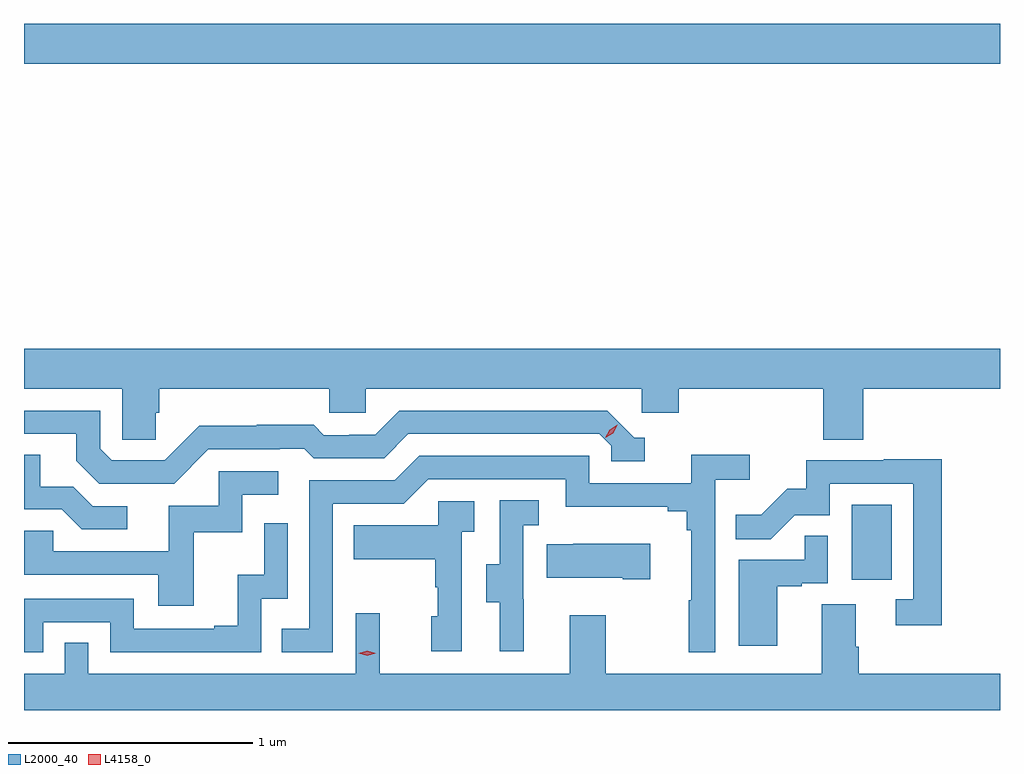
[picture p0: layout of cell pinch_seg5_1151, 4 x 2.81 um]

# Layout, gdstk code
import gdstk
lib = gdstk.Library(unit=1e-6, precision=1e-09)
def R(c, l, rs):  # rectangles x0, y0, x1, y1
    for r in rs: c.add(gdstk.rectangle(r[:2], r[2:], *l))
def P(c, l, *ps):  # polygons
    for p in ps: c.add(gdstk.Polygon(p, *l))
L2000_40 = (2000, 40)
L4158_0 = (4158, 0)

pinch_seg5_1151 = lib.new_cell('pinch_seg5_1151')
R(pinch_seg5_1151, L2000_40, [(869.546,833.334,869.71,833.641), (866.154,835.448,870.154,835.612)])
P(pinch_seg5_1151, L2000_40, [(866.693,834.018),(866.708,834.018),(866.708,834.116),(867.405,834.116),(867.405,834.018),(867.555,834.018),(867.555,834.116),(868.686,834.116),(868.686,834.018),(868.838,834.018),(868.838,834.116),(869.429,834.116),(869.429,833.908),(869.594,833.908),(869.594,834.116),(870.154,834.116),(870.154,834.28),(866.154,834.28),(866.154,834.116),(866.556,834.116),(866.556,833.908),(866.693,833.908)],
  [(866.91,833.868),(867.203,833.868),(867.203,833.871),(867.302,833.871),(867.341,833.832),(867.63,833.832),(867.729,833.931),(868.512,833.931),(868.56,833.883),(868.56,833.82),(868.699,833.82),(868.699,833.916),(868.656,833.916),(868.545,834.027),(867.692,834.027),(867.593,833.928),(867.486,833.928),(867.486,833.925),(867.383,833.925),(867.341,833.968),(867.108,833.968),(867.108,833.965),(866.872,833.965),(866.73,833.823),(866.514,833.823),(866.466,833.871),(866.466,834.027),(866.154,834.027),(866.154,833.931),(866.369,833.931),(866.369,833.821),(866.463,833.727),(866.769,833.727)],
  [(866.578,833.634),(866.436,833.634),(866.356,833.714),(866.221,833.714),(866.221,833.846),(866.154,833.846),(866.154,833.622),(866.309,833.622),(866.39,833.541),(866.578,833.541)],
  [(867.42,833.646),(867.711,833.646),(867.81,833.745),(868.374,833.745),(868.374,833.633),(868.793,833.633),(868.793,833.614),(868.87,833.614),(868.87,833.537),(868.889,833.537),(868.889,833.249),(868.878,833.249),(868.878,833.037),(868.986,833.037),(868.986,833.744),(869.128,833.744),(869.128,833.846),(868.889,833.846),(868.889,833.73),(868.47,833.73),(868.47,833.841),(867.773,833.841),(867.674,833.742),(867.324,833.742),(867.324,833.133),(867.211,833.133),(867.211,833.037),(867.42,833.037)],
  [(869.915,833.828),(869.677,833.828),(869.677,833.823),(869.359,833.823),(869.359,833.706),(869.282,833.706),(869.175,833.599),(869.071,833.599),(869.071,833.5),(869.215,833.5),(869.313,833.598),(869.457,833.598),(869.457,833.727),(869.799,833.727),(869.799,833.253),(869.727,833.253),(869.727,833.148),(869.915,833.148)],
  [(866.849,833.529),(867.048,833.529),(867.048,833.682),(867.196,833.682),(867.196,833.778),(866.952,833.778),(866.952,833.637),(866.747,833.637),(866.747,833.451),(866.273,833.451),(866.273,833.535),(866.154,833.535),(866.154,833.355),(866.705,833.355),(866.705,833.226),(866.849,833.226)],
  [(868.202,833.253),(868.2,833.253),(868.2,833.557),(868.264,833.557),(868.264,833.66),(868.104,833.66),(868.104,833.397),(868.049,833.397),(868.049,833.242),(868.103,833.242),(868.103,833.04),(868.202,833.04)],
  [(867.948,833.531),(868,833.531),(868,833.655),(867.852,833.655),(867.852,833.557),(867.505,833.557),(867.505,833.417),(867.84,833.417),(867.84,833.303),(867.85,833.303),(867.85,833.184),(867.824,833.184),(867.824,833.04),(867.948,833.04)],
  [(866.232,833.16),(866.508,833.16),(866.508,833.037),(867.126,833.037),(867.126,833.256),(867.234,833.256),(867.234,833.566),(867.138,833.566),(867.138,833.354),(867.029,833.354),(867.029,833.146),(866.933,833.146),(866.933,833.133),(866.604,833.133),(866.604,833.256),(866.154,833.256),(866.154,833.037),(866.232,833.037)],
  [(869.242,833.307),(869.342,833.307),(869.342,833.319),(869.448,833.319),(869.448,833.513),(869.353,833.513),(869.353,833.415),(869.084,833.415),(869.084,833.064),(869.242,833.064)],
  [(868.72,833.482),(868.405,833.482),(868.405,833.479),(868.297,833.479),(868.297,833.342),(868.607,833.342),(868.607,833.335),(868.72,833.335)],
  [(870.154,832.948),(869.576,832.948),(869.576,833.06),(869.563,833.06),(869.563,833.234),(869.423,833.234),(869.423,832.948),(868.539,832.948),(868.539,833.188),(868.391,833.188),(868.391,832.948),(867.611,832.948),(867.611,833.197),(867.513,833.197),(867.513,832.948),(866.418,832.948),(866.418,833.075),(866.322,833.075),(866.322,832.948),(866.154,832.948),(866.154,832.799),(870.154,832.799)])
P(pinch_seg5_1151, L4158_0, [(868.537,833.916),(868.537,833.916),(868.554,833.949),(868.585,833.968),(868.585,833.968),(868.585,833.967),(868.568,833.935),(868.537,833.916)],
  [(867.56,833.023),(867.525,833.033),(867.525,833.033),(867.525,833.033),(867.56,833.043),(867.596,833.033),(867.596,833.033),(867.596,833.033)])

lib.write_gds('pinch_seg5_1151.gds')
